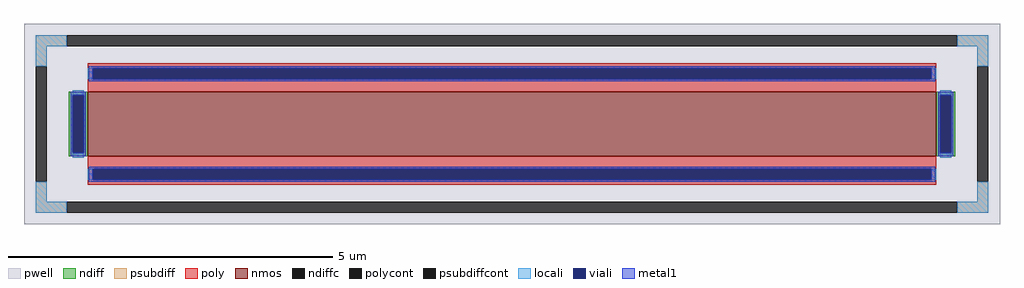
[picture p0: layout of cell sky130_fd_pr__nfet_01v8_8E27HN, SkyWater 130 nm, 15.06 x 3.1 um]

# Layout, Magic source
magic
tech sky130A
<< pwell >>
rect -753 -155 753 155
<< nmos >>
rect -655 -50 655 50
<< ndiff >>
rect -684 44 -655 50
rect -684 -44 -678 44
rect -661 -44 -655 44
rect -684 -50 -655 -44
rect 655 44 684 50
rect 655 -44 661 44
rect 678 -44 684 44
rect 655 -50 684 -44
<< ndiffc >>
rect -678 -44 -661 44
rect 661 -44 678 44
<< psubdiff >>
rect -735 120 -687 137
rect 687 120 735 137
rect -735 89 -718 120
rect 718 89 735 120
rect -735 -120 -718 -89
rect 718 -120 735 -89
rect -735 -137 -687 -120
rect 687 -137 735 -120
<< psubdiffcont >>
rect -687 120 687 137
rect -735 -89 -718 89
rect 718 -89 735 89
rect -687 -137 687 -120
<< poly >>
rect -655 86 655 94
rect -655 69 -647 86
rect 647 69 655 86
rect -655 50 655 69
rect -655 -69 655 -50
rect -655 -86 -647 -69
rect 647 -86 655 -69
rect -655 -94 655 -86
<< polycont >>
rect -647 69 647 86
rect -647 -86 647 -69
<< locali >>
rect -735 120 -687 137
rect 687 120 735 137
rect -735 89 -718 120
rect 718 89 735 120
rect -655 69 -647 86
rect 647 69 655 86
rect -678 44 -661 52
rect -678 -52 -661 -44
rect 661 44 678 52
rect 661 -52 678 -44
rect -655 -86 -647 -69
rect 647 -86 655 -69
rect -735 -120 -718 -89
rect 718 -120 735 -89
rect -735 -137 -687 -120
rect 687 -137 735 -120
<< viali >>
rect -647 69 647 86
rect -678 -44 -661 44
rect 661 -44 678 44
rect -647 -86 647 -69
<< metal1 >>
rect -653 86 653 89
rect -653 69 -647 86
rect 647 69 653 86
rect -653 66 653 69
rect -681 44 -658 50
rect -681 -44 -678 44
rect -661 -44 -658 44
rect -681 -50 -658 -44
rect 658 44 681 50
rect 658 -44 661 44
rect 678 -44 681 44
rect 658 -50 681 -44
rect -653 -69 653 -66
rect -653 -86 -647 -69
rect 647 -86 653 -69
rect -653 -89 653 -86
<< properties >>
string FIXED_BBOX -726 -128 726 128
string gencell sky130_fd_pr__nfet_01v8
string library sky130
string parameters w 1.0 l 13.1 m 1 nf 1 diffcov 100 polycov 100 guard 1 glc 1 grc 1 gtc 1 gbc 1 tbcov 100 rlcov 100 topc 1 botc 1 poverlap 0 doverlap 1 lmin 0.15 wmin 0.42 compatible {sky130_fd_pr__nfet_01v8 sky130_fd_pr__nfet_01v8_lvt  sky130_fd_bs_flash__special_sonosfet_star  sky130_fd_pr__nfet_g5v0d10v5 sky130_fd_pr__nfet_05v0_nvt  sky130_fd_pr__nfet_03v3_nvt} full_metal 1 viasrc 100 viadrn 100 viagate 100 viagb 0 viagr 0 viagl 0 viagt 0
<< end >>
